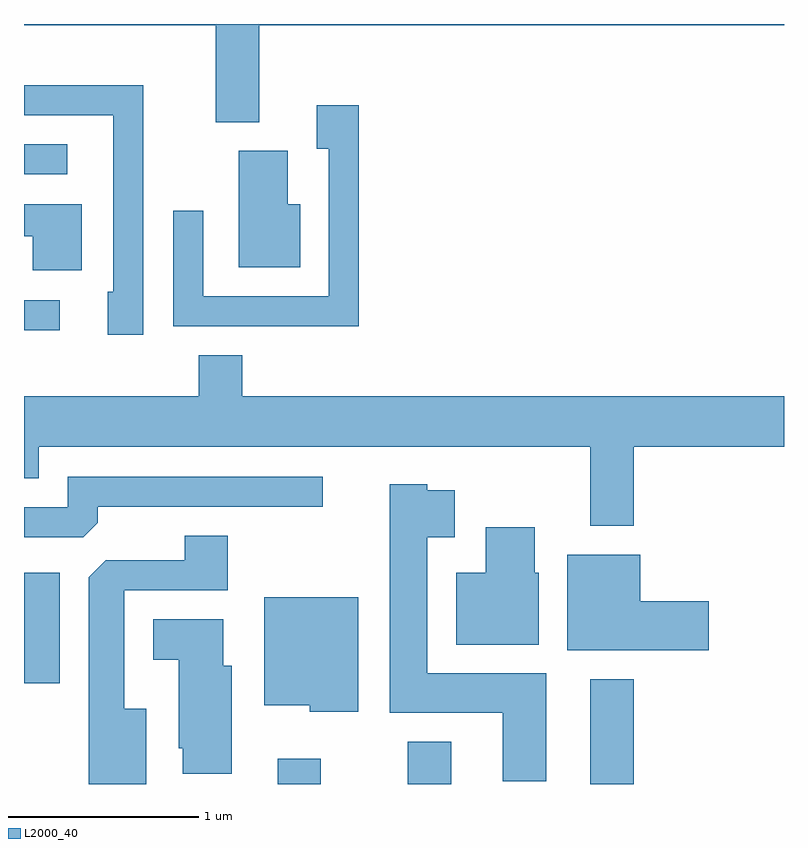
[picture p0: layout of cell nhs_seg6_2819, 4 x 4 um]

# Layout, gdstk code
import gdstk
lib = gdstk.Library(unit=1e-6, precision=1e-09)
def R(c, l, rs):  # rectangles x0, y0, x1, y1
    for r in rs: c.add(gdstk.rectangle(r[:2], r[2:], *l))
def P(c, l, *ps):  # polygons
    for p in ps: c.add(gdstk.Polygon(p, *l))
L2000_40 = (2000, 40)

nhs_seg6_2819 = lib.new_cell('nhs_seg6_2819')
R(nhs_seg6_2819, L2000_40, [(270.946,1648.162,271.174,1648.294), (271.631,1648.162,271.859,1648.384), (272.591,1648.162,272.819,1648.714), (269.611,1648.691,269.799,1649.274), (269.611,1650.551,269.798,1650.709), (269.611,1651.371,269.838,1651.529)])
P(nhs_seg6_2819, L2000_40, [(269.611,1652.156),(270.621,1652.156),(270.621,1651.646),(270.849,1651.646),(270.849,1652.156),(273.611,1652.156),(273.611,1652.162),(269.611,1652.162)],
  [(270.239,1651.839),(269.611,1651.839),(269.611,1651.681),(270.081,1651.681),(270.081,1650.754),(270.051,1650.754),(270.051,1650.526),(270.239,1650.526)],
  [(271.374,1651.734),(271.151,1651.734),(271.151,1651.506),(271.216,1651.506),(271.216,1650.729),(270.554,1650.729),(270.554,1651.178),(270.396,1651.178),(270.396,1650.571),(271.374,1650.571)],
  [(271.064,1651.214),(270.999,1651.214),(270.999,1651.494),(270.741,1651.494),(270.741,1650.881),(271.064,1650.881)],
  [(269.914,1651.214),(269.611,1651.214),(269.611,1651.046),(269.656,1651.046),(269.656,1650.866),(269.914,1650.866)],
  [(272.819,1649.936),(273.611,1649.936),(273.611,1650.204),(270.759,1650.204),(270.759,1650.419),(270.531,1650.419),(270.531,1650.204),(269.611,1650.204),(269.611,1649.771),(269.689,1649.771),(269.689,1649.936),(272.591,1649.936),(272.591,1649.521),(272.819,1649.521)],
  [(269.999,1649.537),(269.999,1649.621),(271.183,1649.621),(271.183,1649.779),(269.841,1649.779),(269.841,1649.619),(269.611,1649.619),(269.611,1649.461),(269.924,1649.461)],
  [(272.359,1648.744),(271.734,1648.744),(271.734,1649.461),(271.879,1649.461),(271.879,1649.709),(271.734,1649.709),(271.734,1649.739),(271.536,1649.739),(271.536,1648.536),(272.131,1648.536),(272.131,1648.176),(272.359,1648.176)],
  [(272.319,1649.274),(272.299,1649.274),(272.299,1649.514),(272.041,1649.514),(272.041,1649.274),(271.886,1649.274),(271.886,1648.896),(272.319,1648.896)],
  [(270.254,1648.559),(270.139,1648.559),(270.139,1649.181),(270.684,1649.181),(270.684,1649.469),(270.456,1649.469),(270.456,1649.339),(270.042,1649.339),(269.951,1649.249),(269.951,1648.162),(270.254,1648.162)],
  [(273.214,1649.124),(272.854,1649.124),(272.854,1649.369),(272.471,1649.369),(272.471,1648.866),(273.214,1648.866)],
  [(271.369,1649.144),(270.876,1649.144),(270.876,1648.576),(271.116,1648.576),(271.116,1648.541),(271.369,1648.541)],
  [(270.704,1648.784),(270.659,1648.784),(270.659,1649.029),(270.291,1649.029),(270.291,1648.816),(270.426,1648.816),(270.426,1648.351),(270.446,1648.351),(270.446,1648.216),(270.704,1648.216)])

lib.write_gds('nhs_seg6_2819.gds')
